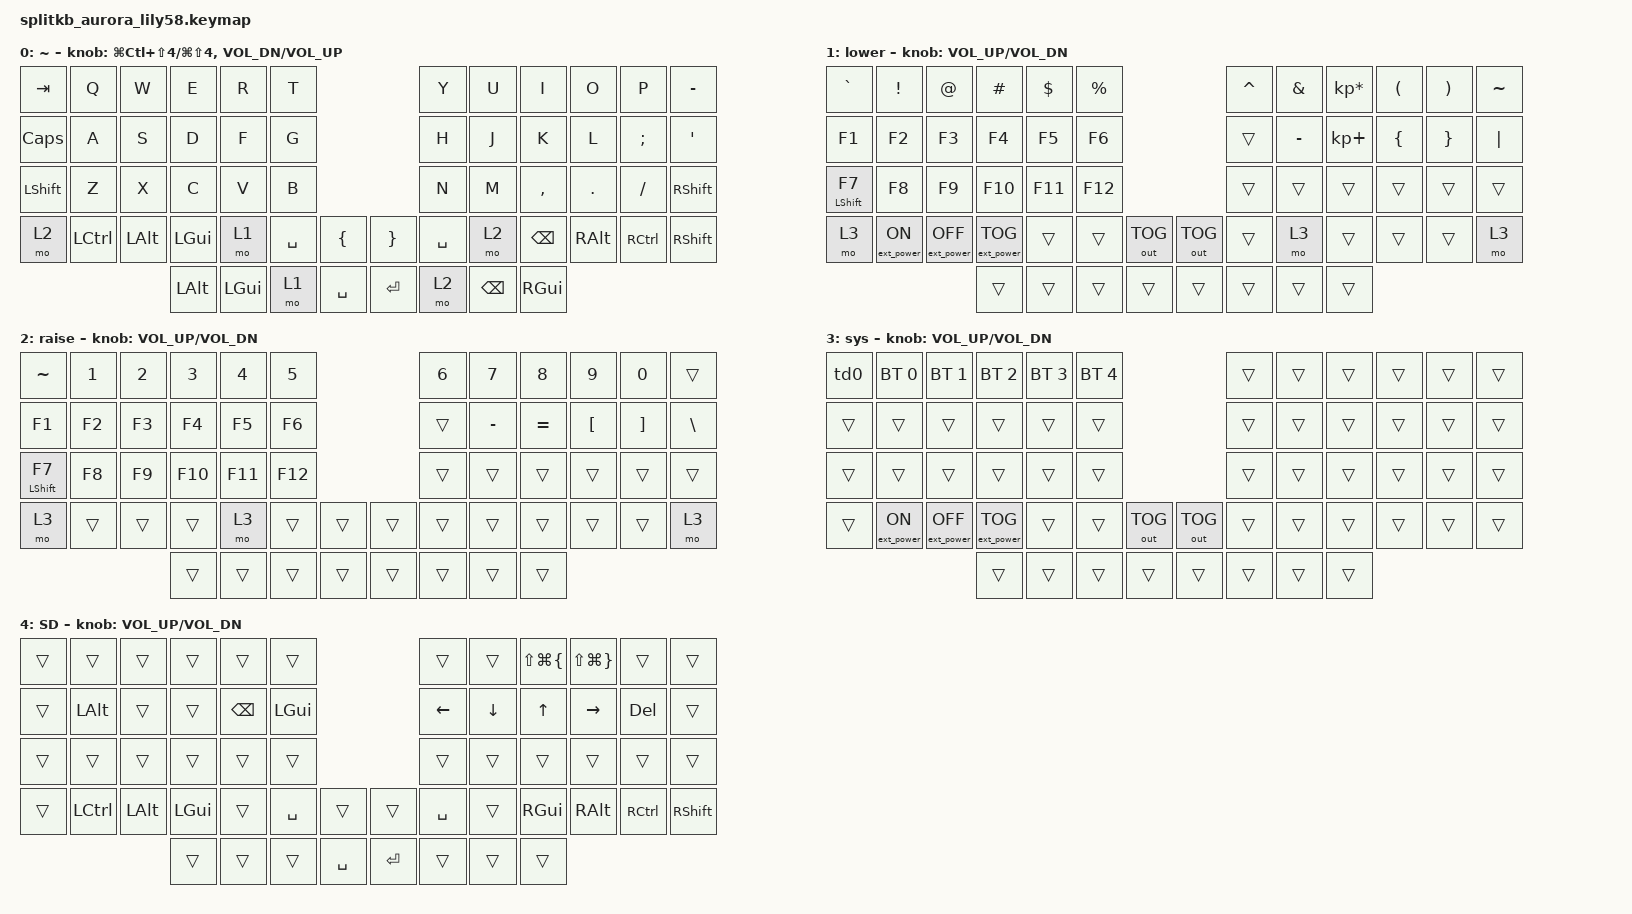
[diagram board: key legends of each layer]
/*
 * Copyright (c) 2020 The ZMK Contributors
 *
 * SPDX-License-Identifier: MIT
 */

#include <behaviors.dtsi>
#include <dt-bindings/zmk/keys.h>
#include <dt-bindings/zmk/bt.h>
#include <dt-bindings/zmk/ext_power.h>
#include <dt-bindings/zmk/outputs.h>

/ {

  behaviors {
      td0: tap_dance_0 {
          compatible = "zmk,behavior-tap-dance";
          label = "TAP_DANCE_0";
          #binding-cells = <0>;
          tapping-term-ms = <200>;
          bindings = <&none>, <&none>, <&bt BT_CLR>;
      };
  };

  combos {
      compatible = "zmk,combos";
      combo_esc {
          timeout-ms = <50>;
          key-positions = <14 15>;
          bindings = <&mo 4>;
          layers = <0>;
      };
  };

	keymap {
		compatible = "zmk,keymap";

		default_layer {
      label = "~";
// ------------------------------------------------------------------------------------------------------------
// |  TAB  |  Q  |  W  |  E   |  R   |  T   |                   |  Y   |  U    |  I    |  O   |   P   |   -   |
// |  CTRL |  A  |  S  |  D   |  F   |  G   |                   |  H   |  J    |  K    |  L   |   ;   |   '   |
// | SHIFT |  Z  |  X  |  C   |  V   |  B   |        |  |       |  N   |  M    |  ,    |  .   |   /   | SHIFT |
// | RAISE | CTRL| ALT | GUI  | LOWER| SPACE|   "["  |  |  "]"  | SPACE| UPPER | BKSP  | ALT  | CTRL  | SHIFT |
//                     | ALT  | GUI  | LOWER|  SPACE |  | ENTER | RAISE| BSPC  | GUI   |
			bindings = <
&kp TAB   &kp Q     &kp W  &kp E    &kp R    &kp T                      &kp Y  &kp U    &kp I     &kp O   &kp P    &kp MINUS
&kp CAPS  &kp A     &kp S  &kp D    &kp F    &kp G                      &kp H  &kp J    &kp K     &kp L   &kp SEMI &kp SQT
&kp LSHFT &kp Z     &kp X  &kp C    &kp V    &kp B                      &kp N  &kp M    &kp COMMA &kp DOT &kp FSLH &kp RSHFT
&mo 2     &kp LCTRL &kp LALT  &kp LGUI    &mo 1  &kp SPACE  &kp LBRC &kp RBRC  &kp SPACE  &mo 2   &kp BKSP &kp RALT &kp RCTRL &kp RSHFT
                        &kp LALT &kp LGUI &mo 1  &kp SPACE  &kp RET  &mo 2  &kp BSPC &kp RGUI
			>;

			sensor-bindings = <&inc_dec_kp LG(LC(LS(N4))) LG(LS(N4))
                        &inc_dec_kp C_VOL_DN C_VOL_UP
                        >;
		};

		lower_layer {
      label = "lower";
// ------------------------------------------------------------------------------------------------------------
// |   `   |  !  |  @  |  #   |  $   |  %   |                   |  ^   |  &    |  *    |  (   |   )   |   ~   |
// | BTCLR | BT1 | BT2 |  BT3 |  BT4 |  BT5 |                   |      |  _    |  +    |  {   |   }   |  "|"  |
// |  F1   |  F2 |  F3 |  F4  |  F5  |  F6  |                   |  F7  |  F8   |  F9   |  F10 |  F11  |  F12  |
// |       |     |     |      |      |      | OUT_TOG|  |OUT_TOG|      |  _    |  +    |  {   |   }   |  "|"  |
//                     |      |      |      |        |  |       |      |       |       |
			bindings = <
&kp GRAVE  &kp EXCL         &kp AT            &kp HASH          &kp DOLLAR   &kp PRCNT                    &kp CARET &kp AMPS  &kp KP_MULTIPLY &kp LPAR  &kp RPAR  &kp TILDE
&kp F1     &kp F2           &kp F3            &kp F4            &kp F5       &kp F6                       &trans    &kp MINUS &kp KP_PLUS     &kp LBRC  &kp RBRC  &kp PIPE
&mt LSHFT F7    &kp F8    &kp F9          &kp F10   &kp F11   &kp F12                 &trans    &trans    &trans          &trans    &trans    &trans
&mo 3     &ext_power EP_ON &ext_power EP_OFF &ext_power EP_TOG &trans       &trans    &out OUT_TOG   &out OUT_TOG    &trans    &mo 3 &trans     &trans  &trans  &mo 3
                                              &trans            &trans       &trans    &trans   &trans    &trans    &trans    &trans
			>;

			sensor-bindings = <&inc_dec_kp C_VOL_UP C_VOL_DN>;
		};

		raise_layer {
      label = "raise";
// ------------------------------------------------------------------------------------------------------------
// |   `   |  1  |  2  |  3   |  4   |  5   |                   |  6   |   7   |   8   |  9   |   0   |       |
// |   F1  |  F2 |  F3 |  F4  |  F5  |  F6  |                   |      |   <-  |   v   |  ^   |  ->   |   \   |
// |   F7  |  F8 |  F9 |  F10 |  F11 |  F12 |                   |  +   |   -   |   =   |  [   |   ]   |   \   |
// |       |     |     |      |      |      |        |  |       |      |       |       |      |       |       |
//                     |      |      |      |        |  |       |      |       |       |
			bindings = <
&kp TILDE &kp N1 &kp N2 &kp N3  &kp N4  &kp N5                       &kp N6      &kp N7    &kp N8    &kp N9   &kp N0   &trans
&kp F1    &kp F2 &kp F3 &kp F4  &kp F5  &kp F6                       &trans      &kp MINUS &kp EQUAL &kp LBKT &kp RBKT &kp BSLH
&mt LSHFT F7 &kp F8 &kp F9 &kp F10 &kp F11 &kp F12                   &trans      &trans    &trans    &trans   &trans   &trans
&mo 3     &trans &trans &trans  &mo 3   &trans   &trans   &trans     &trans      &trans    &trans    &trans   &trans   &mo 3
                        &trans  &trans  &trans   &trans   &trans     &trans      &trans    &trans
			>;

			sensor-bindings = <&inc_dec_kp C_VOL_UP C_VOL_DN>;
		};

		sys_layer {
      label = "sys";
// ------------------------------------------------------------------------------------------------------------
// | BTCLR | BT1 | BT2 |  BT3 |  BT4 |  BT5 |                   |      |       |       |      |       |       |
// |  F1   |  F2 |  F3 |  F4  |  F5  |  F6  |                   |  F7  |  F8   |  F9   |  F10 |  F11  |  F12  |
// |   `   |  !  |  @  |  #   |  $   |  %   |                   |  ^   |  &    |  *    |  (   |   )   |   ~   |
// |       |     |     |      |      |      | OUT_TOG|  |OUT_TOG|      |  _    |  +    |  {   |   }   |  "|"  |
//                     |      |      |      |        |  |       |      |       |       |
			bindings = <
&td0       &bt BT_SEL 0     &bt BT_SEL 1      &bt BT_SEL 2      &bt BT_SEL 3 &bt BT_SEL 4                           &trans    &trans    &trans     &trans    &trans    &trans
&trans     &trans           &trans            &trans            &trans       &trans                                 &trans    &trans    &trans     &trans    &trans    &trans
&trans     &trans           &trans            &trans            &trans       &trans                                 &trans    &trans    &trans     &trans    &trans    &trans
&trans     &ext_power EP_ON &ext_power EP_OFF &ext_power EP_TOG &trans       &trans    &out OUT_TOG   &out OUT_TOG  &trans    &trans    &trans     &trans    &trans    &trans
                                              &trans            &trans       &trans    &trans         &trans        &trans    &trans    &trans
			>;

			sensor-bindings = <&inc_dec_kp C_VOL_UP C_VOL_DN>;
		};

    superduper_layer {
      label = "SD";
/*
 * ,-----------------------------------------.                    ,-----------------------------------------.
 * |      |      |      |      |      |      |                    |      |      |  T←  |  T→  |      |      |
 * |------+------+------+------+------+------|                    |------+------+------+------+------+------|
 * |      | Alt  | [SuperDuper]| Bksp | Gui  |                    |  ←   |  ↓   |   ↑  |  →   | Del  |      |
 * |------+------+------+------+------+------|                    |------+------+------+------+------+------|
 * |      |      |      |      |      |      |-------.    ,-------|      |      |      |      |      |      |
 * |------+------+------+------+------+------|       |    |       |------+------+------+------+------+------|
 * |      |      |      |      |      |      |-------|    |-------|      |      |      |      |      |      |
 * `-----------------------------------------/       /     \      \-----------------------------------------'
 *                   | LAlt | LGUI |LOWER | /Space  /       \Enter \  |RAISE |BackSP| RGUI |
 *                   |      |      |      |/       /         \      \ |      |      |      |
 *                   `----------------------------'           '------''--------------------'
 */
			bindings = <
&trans &trans    &trans    &trans   &trans   &trans                        &trans    &trans   &kp LS(LG(LBRC)) &kp LS(LG(RBRC)) &trans  &trans
&trans &kp LALT  &trans    &trans   &kp BSPC &kp LGUI                      &kp LEFT  &kp DOWN &kp UP &kp RIGHT &kp DEL &trans
&trans &trans    &trans    &trans   &trans   &trans                        &trans    &trans   &trans &trans    &trans  &trans
&trans &kp LCTRL &kp LALT  &kp LGUI &trans   &kp SPACE &trans    &trans    &kp SPACE &trans   &kp RGUI  &kp RALT &kp RCTRL &kp RSHFT
                           &trans   &trans   &trans    &kp SPACE &kp ENTER &trans    &trans   &trans
			>;

			sensor-bindings = <&inc_dec_kp C_VOL_UP C_VOL_DN>;
		};
	};
};

&left_encoder {
    resolution = <2>; // Default is 4
};

&right_encoder {
    resolution = <2>; // Default is 4
};
